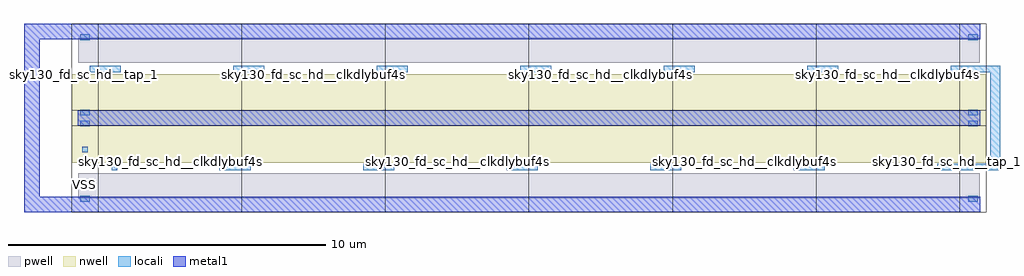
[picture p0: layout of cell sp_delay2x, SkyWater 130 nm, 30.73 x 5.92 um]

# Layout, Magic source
magic
tech sky130A
magscale 1 2
<< nwell >>
rect 0 309 5760 867
<< locali >>
rect 223 879 252 921
rect 5537 879 5846 921
rect 67 377 101 411
rect 5786 305 5846 879
rect 252 263 286 297
rect 5647 263 5846 305
rect 67 159 101 193
<< metal1 >>
rect -300 1088 38 1184
rect -300 96 -200 1088
rect -300 0 38 96
use sp_delay  sp_delay_0
transform 1 0 38 0 1 48
box -38 -48 5722 592
use sp_delay  sp_delay_1
transform -1 0 5722 0 -1 1136
box -38 -48 5722 592
<< labels >>
rlabel locali 67 377 101 411 5 VCC
port 1 s
rlabel locali 67 159 101 193 5 VSS
port 2 s
rlabel locali 252 263 286 297 5 VIN
port 3 s
rlabel locali 223 879 252 921 5 VOUT
port 4 s
<< end >>

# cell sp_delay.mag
magic
tech sky130A
magscale 1 2
<< pwell >>
rect 3 38 5681 195
<< locali >>
rect 17 491 75 527
rect 5609 491 5667 527
rect 893 215 1089 257
rect 1797 215 1993 257
rect 2701 215 2897 257
rect 3605 215 3801 257
rect 4509 215 4705 257
rect 5413 215 5609 257
rect 17 17 75 53
rect 5609 17 5667 53
<< metal1 >>
rect 0 496 5684 592
rect 0 -48 5684 48
use sky130_fd_sc_hd__clkdlybuf4s50_2  sky130_fd_sc_hd__clkdlybuf4s50_2_0 $PDKPATH/libs.ref/sky130_fd_sc_hd/mag
transform 1 0 168 0 1 0
box -38 -48 866 592
use sky130_fd_sc_hd__clkdlybuf4s50_2  sky130_fd_sc_hd__clkdlybuf4s50_2_1
transform 1 0 1072 0 1 0
box -38 -48 866 592
use sky130_fd_sc_hd__clkdlybuf4s50_2  sky130_fd_sc_hd__clkdlybuf4s50_2_2
transform 1 0 1976 0 1 0
box -38 -48 866 592
use sky130_fd_sc_hd__clkdlybuf4s50_2  sky130_fd_sc_hd__clkdlybuf4s50_2_3
transform 1 0 2880 0 1 0
box -38 -48 866 592
use sky130_fd_sc_hd__clkdlybuf4s50_2  sky130_fd_sc_hd__clkdlybuf4s50_2_4
transform 1 0 3784 0 1 0
box -38 -48 866 592
use sky130_fd_sc_hd__clkdlybuf4s50_2  sky130_fd_sc_hd__clkdlybuf4s50_2_5
transform 1 0 4688 0 1 0
box -38 -48 866 592
use sky130_fd_sc_hd__tap_1  sky130_fd_sc_hd__tap_1_0 $PDKPATH/libs.ref/sky130_fd_sc_hd/mag
transform 1 0 0 0 1 0
box -38 -48 130 592
use sky130_fd_sc_hd__tap_1  sky130_fd_sc_hd__tap_1_1
transform 1 0 5592 0 1 0
box -38 -48 130 592
<< end >>
